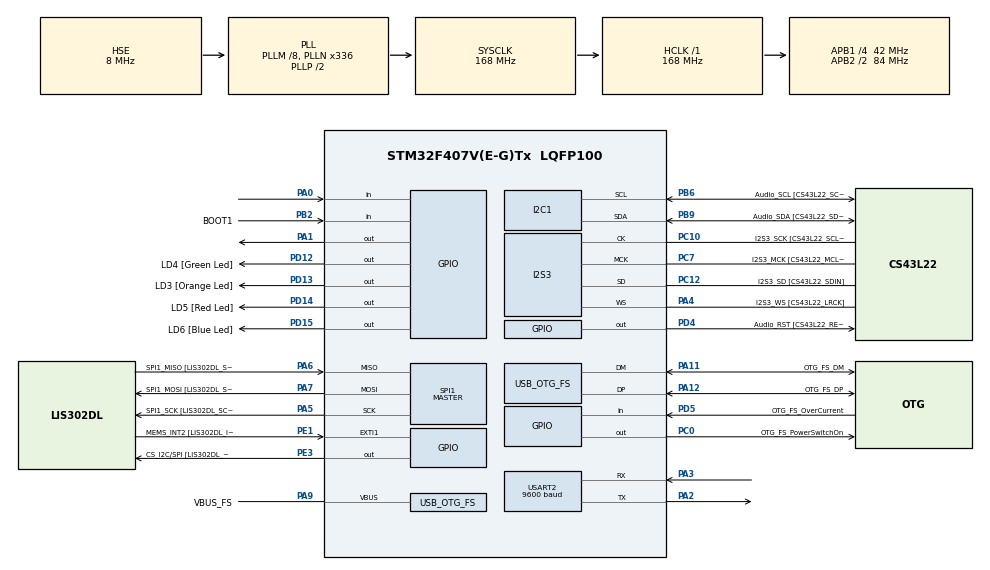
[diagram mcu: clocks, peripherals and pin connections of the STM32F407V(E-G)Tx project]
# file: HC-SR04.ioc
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I2S3.AudioFreq-Half_Duplex_Master=I2S_AUDIOFREQ_96K
I2S3.ErrorAudioFreq=-2.34 %
I2S3.ErrorAudioFreq-Half_Duplex_Master=0.8 %
I2S3.FullDuplexMode=I2S_FULLDUPLEXMODE_DISABLE
I2S3.Instance=SPI$Index
I2S3.RealAudioFreq=93.75 KHz
I2S3.RealAudioFreq-Half_Duplex_Master=96.774 KHz
I2S3.VirtualMode=I2S_MODE_MASTER
Mcu.Family=STM32F4
Mcu.Name=STM32F407V(E-G)Tx
Mcu.Package=LQFP100
NVIC.OTG_FS_IRQn=true\:0\:0\:false\:false\:true\:true\:true\:true
NVIC.PriorityGroup=NVIC_PRIORITYGROUP_0
PA0-WKUP.Signal=GPIO_Input
PA1.Signal=GPIO_Output
PA10.GPIO_Label=OTG_FS_ID
PA10.GPIO_Mode=GPIO_MODE_AF_PP
PA10.GPIO_PuPd=GPIO_NOPULL
PA10.GPIO_Speed=GPIO_SPEED_FREQ_LOW
PA10.Signal=USB_OTG_FS_ID
PA11.GPIO_Label=OTG_FS_DM
PA11.GPIO_Mode=GPIO_MODE_AF_PP
PA11.GPIO_PuPd=GPIO_NOPULL
PA11.GPIO_Speed=GPIO_SPEED_FREQ_LOW
PA11.Mode=Host_Only
PA11.Signal=USB_OTG_FS_DM
PA12.GPIO_Label=OTG_FS_DP
PA12.GPIO_Mode=GPIO_MODE_AF_PP
PA12.GPIO_PuPd=GPIO_NOPULL
PA12.GPIO_Speed=GPIO_SPEED_FREQ_LOW
PA12.Mode=Host_Only
PA12.Signal=USB_OTG_FS_DP
PA13.GPIO_Label=SWDIO
PA13.Mode=Serial_Wire
PA13.Signal=SYS_JTMS-SWDIO
PA14.GPIO_Label=SWCLK
PA14.Mode=Serial_Wire
PA14.Signal=SYS_JTCK-SWCLK
PA2.Mode=Asynchronous
PA2.Signal=USART2_TX
PA3.Mode=Asynchronous
PA3.Signal=USART2_RX
PA4.GPIO_Label=I2S3_WS [CS43L22_LRCK]
PA4.GPIO_Mode=GPIO_MODE_AF_PP
PA4.GPIO_PuPd=GPIO_NOPULL
PA4.GPIO_Speed=GPIO_SPEED_FREQ_LOW
PA4.Mode=Half_Duplex_Master
PA4.Signal=I2S3_WS
PA5.GPIO_Label=SPI1_SCK [LIS302DL_SCL/SPC]
PA5.GPIO_Mode=GPIO_MODE_AF_PP
PA5.GPIO_PuPd=GPIO_NOPULL
PA5.GPIO_Speed=GPIO_SPEED_FREQ_LOW
PA5.Mode=Full_Duplex_Master
PA5.Signal=SPI1_SCK
PA6.GPIO_Label=SPI1_MISO [LIS302DL_SDO]
PA6.GPIO_Mode=GPIO_MODE_AF_PP
PA6.GPIO_PuPd=GPIO_NOPULL
PA6.GPIO_Speed=GPIO_SPEED_FREQ_LOW
PA6.Mode=Full_Duplex_Master
PA6.Signal=SPI1_MISO
PA7.GPIO_Label=SPI1_MOSI [LIS302DL_SDA/SDI/SDO]
PA7.GPIO_Mode=GPIO_MODE_AF_PP
PA7.GPIO_PuPd=GPIO_NOPULL
PA7.GPIO_Speed=GPIO_SPEED_FREQ_LOW
PA7.Mode=Full_Duplex_Master
PA7.Signal=SPI1_MOSI
PA9.GPIO_Label=VBUS_FS
PA9.GPIO_Mode=GPIO_MODE_INPUT
PA9.GPIO_PuPd=GPIO_NOPULL
PA9.Mode=Activate_VBUS
PA9.Signal=USB_OTG_FS_VBUS
PB10.GPIO_Label=CLK_IN [MP45DT02_CLK]
PB10.GPIO_Mode=GPIO_MODE_AF_PP
PB10.GPIO_PuPd=GPIO_NOPULL
PB10.GPIO_Speed=GPIO_SPEED_FREQ_LOW
PB10.Signal=I2S2_CK
PB2.GPIO_Label=BOOT1
PB2.GPIO_Mode=GPIO_MODE_INPUT
PB2.GPIO_PuPd=GPIO_NOPULL
PB2.Signal=GPIO_Input
PB3.GPIO_Label=SWO
PB3.Signal=SYS_JTDO-SWO
PB6.GPIO_Label=Audio_SCL [CS43L22_SCL]
PB6.GPIO_Mode=GPIO_MODE_AF_OD
PB6.GPIO_Pu=GPIO_PULLUP
PB6.GPIO_PuPd=GPIO_NOPULL
PB6.GPIO_Speed=GPIO_SPEED_FREQ_LOW
PB6.Mode=I2C
PB6.Signal=I2C1_SCL
PB9.GPIO_Label=Audio_SDA [CS43L22_SDA]
PB9.GPIO_Mode=GPIO_MODE_AF_OD
PB9.GPIO_Pu=GPIO_PULLUP
PB9.GPIO_PuPd=GPIO_NOPULL
PB9.GPIO_Speed=GPIO_SPEED_FREQ_LOW
PB9.Mode=I2C
PB9.Signal=I2C1_SDA
PC0.GPIO_Label=OTG_FS_PowerSwitchOn
PC0.GPIO_PuPd=GPIO_NOPULL
PC0.GPIO_Speed=GPIO_SPEED_FREQ_LOW
PC0.PinState=GPIO_PIN_SET
PC0.Signal=GPIO_Output
PC10.GPIO_Label=I2S3_SCK [CS43L22_SCLK]
PC10.GPIO_Mode=GPIO_MODE_AF_PP
PC10.GPIO_PuPd=GPIO_NOPULL
PC10.GPIO_Speed=GPIO_SPEED_FREQ_LOW
PC10.Mode=Half_Duplex_Master
PC10.Signal=I2S3_CK
PC12.GPIO_Label=I2S3_SD [CS43L22_SDIN]
PC12.GPIO_Mode=GPIO_MODE_AF_PP
PC12.GPIO_PuPd=GPIO_NOPULL
PC12.GPIO_Speed=GPIO_SPEED_FREQ_LOW
PC12.Mode=Half_Duplex_Master
PC12.Signal=I2S3_SD
PC14-OSC32_IN.GPIO_Label=PC14-OSC32_IN
PC14-OSC32_IN.Mode=LSE-External-Oscillator
PC14-OSC32_IN.Signal=RCC_OSC32_IN
PC15-OSC32_OUT.GPIO_Label=PC15-OSC32_OUT
PC15-OSC32_OUT.Mode=LSE-External-Oscillator
PC15-OSC32_OUT.Signal=RCC_OSC32_OUT
PC3.GPIO_Label=PDM_OUT [MP45DT02_DOUT]
PC3.GPIO_Mode=GPIO_MODE_AF_PP
PC3.GPIO_PuPd=GPIO_NOPULL
PC3.GPIO_Speed=GPIO_SPEED_FREQ_LOW
PC3.Signal=I2S2_SD
PC7.GPIO_Label=I2S3_MCK [CS43L22_MCLK]
PC7.GPIO_Mode=GPIO_MODE_AF_PP
PC7.GPIO_PuPd=GPIO_NOPULL
PC7.GPIO_Speed=GPIO_SPEED_FREQ_LOW
PC7.Mode=Master_Clock_Activated
PC7.Signal=I2S3_MCK
PD12.GPIO_Label=LD4 [Green Led]
PD12.GPIO_PuPd=GPIO_NOPULL
PD12.GPIO_Speed=GPIO_SPEED_FREQ_LOW
PD12.Signal=GPIO_Output
PD13.GPIO_Label=LD3 [Orange Led]
PD13.GPIO_PuPd=GPIO_NOPULL
PD13.GPIO_Speed=GPIO_SPEED_FREQ_LOW
PD13.Signal=GPIO_Output
PD14.GPIO_Label=LD5 [Red Led]
PD14.GPIO_PuPd=GPIO_NOPULL
PD14.GPIO_Speed=GPIO_SPEED_FREQ_LOW
PD14.Signal=GPIO_Output
PD15.GPIO_Label=LD6 [Blue Led]
PD15.GPIO_PuPd=GPIO_NOPULL
PD15.GPIO_Speed=GPIO_SPEED_FREQ_LOW
PD15.Signal=GPIO_Output
PD4.GPIO_Label=Audio_RST [CS43L22_RESET]
PD4.GPIO_PuPd=GPIO_NOPULL
PD4.GPIO_Speed=GPIO_SPEED_FREQ_LOW
PD4.Signal=GPIO_Output
PD5.GPIO_Label=OTG_FS_OverCurrent
PD5.GPIO_Mode=GPIO_MODE_INPUT
PD5.GPIO_PuPd=GPIO_NOPULL
PD5.Signal=GPIO_Input
PE1.GPIO_Label=MEMS_INT2 [LIS302DL_INT2]
PE1.GPIO_ModeDefaultEXTI=GPIO_MODE_EVT_RISING
PE1.GPIO_PuPd=GPIO_NOPULL
PE1.Signal=GPXTI1
PE3.GPIO_Label=CS_I2C/SPI [LIS302DL_CS_I2C/SPI]
PE3.GPIO_PuPd=GPIO_NOPULL
PE3.GPIO_Speed=GPIO_SPEED_FREQ_LOW
PE3.Signal=GPIO_Output
PH0-OSC_IN.GPIO_Label=PH0-OSC_IN
PH0-OSC_IN.Mode=HSE-External-Oscillator
PH0-OSC_IN.Signal=RCC_OSC_IN
PH1-OSC_OUT.GPIO_Label=PH1-OSC_OUT
PH1-OSC_OUT.Mode=HSE-External-Oscillator
PH1-OSC_OUT.Signal=RCC_OSC_OUT
ProjectManager.HeapSize=0x200
ProjectManager.StackSize=0x400
ProjectManager.TargetToolchain=STM32CubeIDE
RCC.48MHZClocksFreq_Value=48000000
RCC.AHBFreq_Value=168000000
RCC.APB1CLKDivider=RCC_HCLK_DIV4
RCC.APB1Freq_Value=42000000
RCC.APB1TimFreq_Value=84000000
RCC.APB2CLKDivider=RCC_HCLK_DIV2
RCC.APB2Freq_Value=84000000
RCC.APB2TimFreq_Value=168000000
RCC.CortexFreq_Value=168000000
RCC.HCLKFreq_Value=168000000
RCC.HSE_VALUE=8000000
RCC.HSI_VALUE=16000000
RCC.PLLM=8
RCC.PLLN=336
RCC.PLLQ=7
RCC.SYSCLKFreq_VALUE=168000000
RCC.SYSCLKSource=RCC_SYSCLKSOURCE_PLLCLK
RCC.VCOOutputFreq_Value=336000000
SPI1.BaudRatePrescaler-Full_Duplex_Master=SPI_BAUDRATEPRESCALER_2
SPI1.CalculateBaudRate-Full_Duplex_Master=42.0 MBits/s
SPI1.Direction=SPI_DIRECTION_2LINES
SPI1.Mode=SPI_MODE_MASTER
SPI1.Mode-Full_Duplex_Master=SPI_MODE_MASTER
SPI1.VirtualType=VM_MASTER
TIM2.Prescaler=84-1
USART2.BaudRate=9600
USART2.VirtualMode=VM_ASYNC
USB_HOST.BSP.number=1
USB_HOST.USBH_HandleTypeDef-CDC_FS=hUsbHostFS
USB_HOST.VirtualModeFS=Cdc
USB_HOST0.BSP.STBoard=false
USB_HOST0.BSP.api=Unknown
USB_HOST0.BSP.instance=PC0
USB_HOST0.BSP.ip=GPIO
USB_HOST0.BSP.mode=Output
USB_HOST0.BSP.name=Drive_VBUS_FS
USB_HOST0.BSP.solution=PC0
USB_OTG_FS.VirtualMode=Host_Only
USB_OTG_FS.phy_itface=HCD_PHY_EMBEDDED
VP_TIM2_VS_ClockSourceINT.Mode=Internal
VP_USB_HOST_VS_USB_HOST_CDC_FS.Mode=CDC_FS
board=STM32F407G-DISC1

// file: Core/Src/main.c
/* USER CODE BEGIN Header */
/**
  ******************************************************************************
  * @file           : main.c
  * @brief          : Main program body
  ******************************************************************************
  * @attention
  *
  * Copyright (c) 2025 STMicroelectronics.
  * All rights reserved.
  *
  * This software is licensed under terms that can be found in the LICENSE file
  * in the root directory of this software component.
  * If no LICENSE file comes with this software, it is provided AS-IS.
  *
  ******************************************************************************
  */
/* USER CODE END Header */
#include "main.h"
#include "usb_host.h"

/* USER CODE BEGIN PD */
#define HCSR04_TRIG_PORT GPIOA
#define HCSR04_TRIG_PIN GPIO_PIN_1
#define HCSR04_ECHO_PORT GPIOA
#define HCSR04_ECHO_PIN GPIO_PIN_0
/* USER CODE END PD */

I2C_HandleTypeDef hi2c1;

I2S_HandleTypeDef hi2s3;

SPI_HandleTypeDef hspi1;

TIM_HandleTypeDef htim2;

UART_HandleTypeDef huart2;

/* USER CODE BEGIN PV */
static uint16_t last_distance = 0; // Son ölçülen mesafe
static uint8_t error_count = 0;    // Hata sayacı
/* USER CODE END PV */

void SystemClock_Config(void);
static void MX_GPIO_Init(void);
static void MX_I2C1_Init(void);
static void MX_I2S3_Init(void);
static void MX_SPI1_Init(void);
static void MX_TIM2_Init(void);
static void MX_USART2_UART_Init(void);
void MX_USB_HOST_Process(void);

/* USER CODE BEGIN 0 */
int __io_putchar(int ch) {
    HAL_UART_Transmit(&huart2, (uint8_t *)&ch, 1, HAL_MAX_DELAY);
    return ch;
}

// Mikrosaniye gecikmesi
void delay_us(uint32_t us) {
    __HAL_TIM_SET_COUNTER(&htim2, 0);
    while (__HAL_TIM_GET_COUNTER(&htim2) < us);
}

// HC-SR04 mesafe ölçümü (cm cinsinden)
uint16_t HCSR04_Read(void) {
    uint32_t echo_time = 0;
    uint16_t distance = 0;

    // Trig pinini sıfırla
    HAL_GPIO_WritePin(HCSR04_TRIG_PORT, HCSR04_TRIG_PIN, GPIO_PIN_RESET);
    delay_us(2);

    // 10 µs yüksek sinyal gönder
    HAL_GPIO_WritePin(HCSR04_TRIG_PORT, HCSR04_TRIG_PIN, GPIO_PIN_SET);
    delay_us(10);
    HAL_GPIO_WritePin(HCSR04_TRIG_PORT, HCSR04_TRIG_PIN, GPIO_PIN_RESET);

    // Echo yüksek sinyalini bekle
    __HAL_TIM_SET_COUNTER(&htim2, 0);
    while (HAL_GPIO_ReadPin(HCSR04_ECHO_PORT, HCSR04_ECHO_PIN) == GPIO_PIN_RESET) {
        if (__HAL_TIM_GET_COUNTER(&htim2) > 10000) { // 5 ms timeout
            return 0; // Hata
        }
    }

    // Echo süresini ölç
    __HAL_TIM_SET_COUNTER(&htim2, 0);
    while (HAL_GPIO_ReadPin(HCSR04_ECHO_PORT, HCSR04_ECHO_PIN) == GPIO_PIN_SET) {
        if (__HAL_TIM_GET_COUNTER(&htim2) > 60000) { // 60 ms timeout
            return 0; // Hata
        }
    }
    echo_time = __HAL_TIM_GET_COUNTER(&htim2);

    // Mesafeyi hesapla (cm): echo_time / 58
    distance = echo_time / 58; // Ses hızı 343 m/s, 1 cm ≈ 29.1 µs, bölü 2

    return distance;
}

// Birden fazla ölçüm alıp ortalamasını hesaplar
uint16_t measure_average_distance(uint8_t samples) {
    uint32_t distance_sum = 0;
    uint8_t valid_samples = 0;

    for (uint8_t i = 0; i < samples; i++) {
        uint16_t distance = HCSR04_Read();
        if (distance > 2 && distance < 400) { // Geçerli ölçüm
            distance_sum += distance;
            valid_samples++;
        }
        delay_us(60000); // Sensör stabilizasyonu için 60 ms
    }

    return valid_samples > 0 ? (distance_sum / valid_samples) : 0;
}

// Mesafe aralığına göre LED yakar
void update_leds(uint16_t distance) {
    // Tüm LED'leri sıfırla
    HAL_GPIO_WritePin(GPIOD, LD3_Pin | LD4_Pin | LD5_Pin | LD6_Pin, GPIO_PIN_RESET);

    if (distance == 0) return; // Hata durumunda LED yakma

    if (distance < 5) {
        HAL_GPIO_WritePin(GPIOD, LD3_Pin, GPIO_PIN_SET); // Kırmızı: <5 cm
    } else if (distance <= 10) {
        HAL_GPIO_WritePin(GPIOD, LD4_Pin, GPIO_PIN_SET); // Yeşil: 5-10 cm
    } else if (distance <= 20) {
        HAL_GPIO_WritePin(GPIOD, LD5_Pin, GPIO_PIN_SET); // Mavi: 11-20 cm
    } else {
        HAL_GPIO_WritePin(GPIOD, LD6_Pin, GPIO_PIN_SET); // Turuncu: >20 cm
    }
}

// Mesafe değiştiyse veya hata varsa JSON formatında gönder
void print_distance(uint16_t distance) {
    const uint8_t max_errors = 3;
    char buffer[32];

    if (distance == 0) { // Hata durumu
        error_count++;
        if (error_count >= max_errors) {
            snprintf(buffer, sizeof(buffer), "{\"error\": \"Mesafe okuma hatasi (%u deneme)\"}\n", error_count);
            HAL_UART_Transmit(&huart2, (uint8_t *)buffer, strlen(buffer), HAL_MAX_DELAY);
            error_count = max_errors; // Taşmayı önle
        }
        return;
    }

    error_count = 0; // Hata sayacını sıfırla

    // Mesafe 2 cm'den fazla değiştiyse veya ilk ölçümse gönder
    if (abs((int)distance - (int)last_distance) > 2 || last_distance == 0) {
        snprintf(buffer, sizeof(buffer), "{\"distance\": %u}\n", distance);
        HAL_UART_Transmit(&huart2, (uint8_t *)buffer, strlen(buffer), HAL_MAX_DELAY);
        last_distance = distance;
    }

    // Yakın engel uyarısı
    if (distance < 5) {
        snprintf(buffer, sizeof(buffer), "{\"warning\": \"Engel cok yakin (%u cm)\"}\n", distance);
        HAL_UART_Transmit(&huart2, (uint8_t *)buffer, strlen(buffer), HAL_MAX_DELAY);
    }
}
/* USER CODE END 0 */

int main(void)
{

  /* MCU Configuration--------------------------------------------------------*/

  /* Reset of all peripherals, Initializes the Flash interface and the Systick. */
  HAL_Init();

  /* Configure the system clock */
  SystemClock_Config();

  /* Initialize all configured peripherals */
  MX_GPIO_Init();
  MX_I2C1_Init();
  MX_I2S3_Init();
  MX_SPI1_Init();
  MX_USB_HOST_Init();
  MX_TIM2_Init();
  MX_USART2_UART_Init();

  /* Infinite loop */
  while (1)
     {
    MX_USB_HOST_Process();

    /* USER CODE BEGIN 3 */

         uint16_t distance = measure_average_distance(3); // 3 ölçüm ortalaması
         update_leds(distance);
         print_distance(distance);
         HAL_Delay(200); // 200 ms döngü süresi
     }
  /* USER CODE END 3 */
}

void SystemClock_Config(void)
{
  RCC_OscInitTypeDef RCC_OscInitStruct = {0};
  RCC_ClkInitTypeDef RCC_ClkInitStruct = {0};

  /** Configure the main internal regulator output voltage
  */
  __HAL_RCC_PWR_CLK_ENABLE();
  __HAL_PWR_VOLTAGESCALING_CONFIG(PWR_REGULATOR_VOLTAGE_SCALE1);

  /** Initializes the RCC Oscillators according to the specified parameters
  * in the RCC_OscInitTypeDef structure.
  */
  RCC_OscInitStruct.OscillatorType = RCC_OSCILLATORTYPE_HSE;
  RCC_OscInitStruct.HSEState = RCC_HSE_ON;
  RCC_OscInitStruct.PLL.PLLState = RCC_PLL_ON;
  RCC_OscInitStruct.PLL.PLLSource = RCC_PLLSOURCE_HSE;
  RCC_OscInitStruct.PLL.PLLM = 8;
  RCC_OscInitStruct.PLL.PLLN = 336;
  RCC_OscInitStruct.PLL.PLLP = RCC_PLLP_DIV2;
  RCC_OscInitStruct.PLL.PLLQ = 7;
  if (HAL_RCC_OscConfig(&RCC_OscInitStruct) != HAL_OK)
  {
    Error_Handler();
  }

  /** Initializes the CPU, AHB and APB buses clocks
  */
  RCC_ClkInitStruct.ClockType = RCC_CLOCKTYPE_HCLK|RCC_CLOCKTYPE_SYSCLK
                              |RCC_CLOCKTYPE_PCLK1|RCC_CLOCKTYPE_PCLK2;
  RCC_ClkInitStruct.SYSCLKSource = RCC_SYSCLKSOURCE_PLLCLK;
  RCC_ClkInitStruct.AHBCLKDivider = RCC_SYSCLK_DIV1;
  RCC_ClkInitStruct.APB1CLKDivider = RCC_HCLK_DIV4;
  RCC_ClkInitStruct.APB2CLKDivider = RCC_HCLK_DIV2;

  if (HAL_RCC_ClockConfig(&RCC_ClkInitStruct, FLASH_LATENCY_5) != HAL_OK)
  {
    Error_Handler();
  }
}

static void MX_I2C1_Init(void)
{

  hi2c1.Instance = I2C1;
  hi2c1.Init.ClockSpeed = 100000;
  hi2c1.Init.DutyCycle = I2C_DUTYCYCLE_2;
  hi2c1.Init.OwnAddress1 = 0;
  hi2c1.Init.AddressingMode = I2C_ADDRESSINGMODE_7BIT;
  hi2c1.Init.DualAddressMode = I2C_DUALADDRESS_DISABLE;
  hi2c1.Init.OwnAddress2 = 0;
  hi2c1.Init.GeneralCallMode = I2C_GENERALCALL_DISABLE;
  hi2c1.Init.NoStretchMode = I2C_NOSTRETCH_DISABLE;
  if (HAL_I2C_Init(&hi2c1) != HAL_OK)
  {
    Error_Handler();
  }

}

static void MX_I2S3_Init(void)
{

  hi2s3.Instance = SPI3;
  hi2s3.Init.Mode = I2S_MODE_MASTER_TX;
  hi2s3.Init.Standard = I2S_STANDARD_PHILIPS;
  hi2s3.Init.DataFormat = I2S_DATAFORMAT_16B;
  hi2s3.Init.MCLKOutput = I2S_MCLKOUTPUT_ENABLE;
  hi2s3.Init.AudioFreq = I2S_AUDIOFREQ_96K;
  hi2s3.Init.CPOL = I2S_CPOL_LOW;
  hi2s3.Init.ClockSource = I2S_CLOCK_PLL;
  hi2s3.Init.FullDuplexMode = I2S_FULLDUPLEXMODE_DISABLE;
  if (HAL_I2S_Init(&hi2s3) != HAL_OK)
  {
    Error_Handler();
  }

}

static void MX_SPI1_Init(void)
{

  /* SPI1 parameter configuration*/
  hspi1.Instance = SPI1;
  hspi1.Init.Mode = SPI_MODE_MASTER;
  hspi1.Init.Direction = SPI_DIRECTION_2LINES;
  hspi1.Init.DataSize = SPI_DATASIZE_8BIT;
  hspi1.Init.CLKPolarity = SPI_POLARITY_LOW;
  hspi1.Init.CLKPhase = SPI_PHASE_1EDGE;
  hspi1.Init.NSS = SPI_NSS_SOFT;
  hspi1.Init.BaudRatePrescaler = SPI_BAUDRATEPRESCALER_2;
  hspi1.Init.FirstBit = SPI_FIRSTBIT_MSB;
  hspi1.Init.TIMode = SPI_TIMODE_DISABLE;
  hspi1.Init.CRCCalculation = SPI_CRCCALCULATION_DISABLE;
  hspi1.Init.CRCPolynomial = 10;
  if (HAL_SPI_Init(&hspi1) != HAL_OK)
  {
    Error_Handler();
  }

}

static void MX_TIM2_Init(void)
{

  TIM_ClockConfigTypeDef sClockSourceConfig = {0};
  TIM_MasterConfigTypeDef sMasterConfig = {0};

  htim2.Instance = TIM2;
  htim2.Init.Prescaler = 84-1;
  htim2.Init.CounterMode = TIM_COUNTERMODE_UP;
  htim2.Init.Period = 4294967295;
  htim2.Init.ClockDivision = TIM_CLOCKDIVISION_DIV1;
  htim2.Init.AutoReloadPreload = TIM_AUTORELOAD_PRELOAD_DISABLE;
  if (HAL_TIM_Base_Init(&htim2) != HAL_OK)
  {
    Error_Handler();
  }
  sClockSourceConfig.ClockSource = TIM_CLOCKSOURCE_INTERNAL;
  if (HAL_TIM_ConfigClockSource(&htim2, &sClockSourceConfig) != HAL_OK)
  {
    Error_Handler();
  }
  sMasterConfig.MasterOutputTrigger = TIM_TRGO_RESET;
  sMasterConfig.MasterSlaveMode = TIM_MASTERSLAVEMODE_DISABLE;
  if (HAL_TIMEx_MasterConfigSynchronization(&htim2, &sMasterConfig) != HAL_OK)
  {
    Error_Handler();
  }

}

static void MX_USART2_UART_Init(void)
{

  huart2.Instance = USART2;
  huart2.Init.BaudRate = 9600;
  huart2.Init.WordLength = UART_WORDLENGTH_8B;
  huart2.Init.StopBits = UART_STOPBITS_1;
  huart2.Init.Parity = UART_PARITY_NONE;
  huart2.Init.Mode = UART_MODE_TX_RX;
  huart2.Init.HwFlowCtl = UART_HWCONTROL_NONE;
  huart2.Init.OverSampling = UART_OVERSAMPLING_16;
  if (HAL_UART_Init(&huart2) != HAL_OK)
  {
    Error_Handler();
  }

}

static void MX_GPIO_Init(void)
{
  GPIO_InitTypeDef GPIO_InitStruct = {0};

  /* GPIO Ports Clock Enable */
  __HAL_RCC_GPIOE_CLK_ENABLE();
  __HAL_RCC_GPIOC_CLK_ENABLE();
  __HAL_RCC_GPIOH_CLK_ENABLE();
  __HAL_RCC_GPIOA_CLK_ENABLE();
  __HAL_RCC_GPIOB_CLK_ENABLE();
  __HAL_RCC_GPIOD_CLK_ENABLE();

  /*Configure GPIO pin Output Level */
  HAL_GPIO_WritePin(CS_I2C_SPI_GPIO_Port, CS_I2C_SPI_Pin, GPIO_PIN_RESET);

  /*Configure GPIO pin Output Level */
  HAL_GPIO_WritePin(OTG_FS_PowerSwitchOn_GPIO_Port, OTG_FS_PowerSwitchOn_Pin, GPIO_PIN_SET);

  /*Configure GPIO pin Output Level */
  HAL_GPIO_WritePin(GPIOA, GPIO_PIN_1, GPIO_PIN_RESET);

  /*Configure GPIO pin Output Level */
  HAL_GPIO_WritePin(GPIOD, LD4_Pin|LD3_Pin|LD5_Pin|LD6_Pin
                          |Audio_RST_Pin, GPIO_PIN_RESET);

  /*Configure GPIO pin : CS_I2C_SPI_Pin */
  GPIO_InitStruct.Pin = CS_I2C_SPI_Pin;
  GPIO_InitStruct.Mode = GPIO_MODE_OUTPUT_PP;
  GPIO_InitStruct.Pull = GPIO_NOPULL;
  GPIO_InitStruct.Speed = GPIO_SPEED_FREQ_LOW;
  HAL_GPIO_Init(CS_I2C_SPI_GPIO_Port, &GPIO_InitStruct);

  /*Configure GPIO pin : OTG_FS_PowerSwitchOn_Pin */
  GPIO_InitStruct.Pin = OTG_FS_PowerSwitchOn_Pin;
  GPIO_InitStruct.Mode = GPIO_MODE_OUTPUT_PP;
  GPIO_InitStruct.Pull = GPIO_NOPULL;
  GPIO_InitStruct.Speed = GPIO_SPEED_FREQ_LOW;
  HAL_GPIO_Init(OTG_FS_PowerSwitchOn_GPIO_Port, &GPIO_InitStruct);

  /*Configure GPIO pin : PDM_OUT_Pin */
  GPIO_InitStruct.Pin = PDM_OUT_Pin;
  GPIO_InitStruct.Mode = GPIO_MODE_AF_PP;
  GPIO_InitStruct.Pull = GPIO_NOPULL;
  GPIO_InitStruct.Speed = GPIO_SPEED_FREQ_LOW;
  GPIO_InitStruct.Alternate = GPIO_AF5_SPI2;
  HAL_GPIO_Init(PDM_OUT_GPIO_Port, &GPIO_InitStruct);

  /*Configure GPIO pin : PA0 */
  GPIO_InitStruct.Pin = GPIO_PIN_0;
  GPIO_InitStruct.Mode = GPIO_MODE_INPUT;
  GPIO_InitStruct.Pull = GPIO_NOPULL;
  HAL_GPIO_Init(GPIOA, &GPIO_InitStruct);

  /*Configure GPIO pin : PA1 */
  GPIO_InitStruct.Pin = GPIO_PIN_1;
  GPIO_InitStruct.Mode = GPIO_MODE_OUTPUT_PP;
  GPIO_InitStruct.Pull = GPIO_NOPULL;
  GPIO_InitStruct.Speed = GPIO_SPEED_FREQ_LOW;
  HAL_GPIO_Init(GPIOA, &GPIO_InitStruct);

  /*Configure GPIO pin : BOOT1_Pin */
  GPIO_InitStruct.Pin = BOOT1_Pin;
  GPIO_InitStruct.Mode = GPIO_MODE_INPUT;
  GPIO_InitStruct.Pull = GPIO_NOPULL;
  HAL_GPIO_Init(BOOT1_GPIO_Port, &GPIO_InitStruct);

  /*Configure GPIO pin : CLK_IN_Pin */
  GPIO_InitStruct.Pin = CLK_IN_Pin;
  GPIO_InitStruct.Mode = GPIO_MODE_AF_PP;
  GPIO_InitStruct.Pull = GPIO_NOPULL;
  GPIO_InitStruct.Speed = GPIO_SPEED_FREQ_LOW;
  GPIO_InitStruct.Alternate = GPIO_AF5_SPI2;
  HAL_GPIO_Init(CLK_IN_GPIO_Port, &GPIO_InitStruct);

  /*Configure GPIO pins : LD4_Pin LD3_Pin LD5_Pin LD6_Pin
                           Audio_RST_Pin */
  GPIO_InitStruct.Pin = LD4_Pin|LD3_Pin|LD5_Pin|LD6_Pin
                          |Audio_RST_Pin;
  GPIO_InitStruct.Mode = GPIO_MODE_OUTPUT_PP;
  GPIO_InitStruct.Pull = GPIO_NOPULL;
  GPIO_InitStruct.Speed = GPIO_SPEED_FREQ_LOW;
  HAL_GPIO_Init(GPIOD, &GPIO_InitStruct);

  /*Configure GPIO pin : OTG_FS_OverCurrent_Pin */
  GPIO_InitStruct.Pin = OTG_FS_OverCurrent_Pin;
  GPIO_InitStruct.Mode = GPIO_MODE_INPUT;
  GPIO_InitStruct.Pull = GPIO_NOPULL;
  HAL_GPIO_Init(OTG_FS_OverCurrent_GPIO_Port, &GPIO_InitStruct);

  /*Configure GPIO pin : MEMS_INT2_Pin */
  GPIO_InitStruct.Pin = MEMS_INT2_Pin;
  GPIO_InitStruct.Mode = GPIO_MODE_EVT_RISING;
  GPIO_InitStruct.Pull = GPIO_NOPULL;
  HAL_GPIO_Init(MEMS_INT2_GPIO_Port, &GPIO_InitStruct);

}

void Error_Handler(void)
{
  __disable_irq();
  while (1)
  {
  }
}
